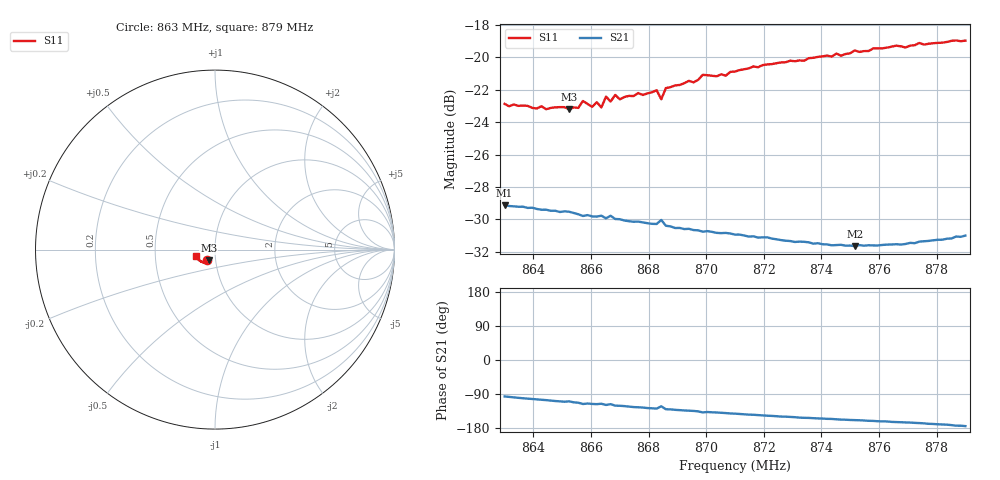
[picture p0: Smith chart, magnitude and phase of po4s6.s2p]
# HZ S RI R 50
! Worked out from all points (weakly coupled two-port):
!   101 points, 863 MHz to 879 MHz, reference 50 ohm
!   highest |S21| = -29.12 dB at 863 MHz (marker M1); lowest = -31.6 dB at 875.16 MHz (marker M2)
!   lowest |S11| = -23.2 dB at 865.24 MHz (marker M3), VSWR 1.15, Z = 46.4 - j5.59 ohm
!   |S11| at or under -10 dB: start of sweep to end of sweep
!   S12 and S22 are empty: the file has one direction only
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8.63e8  -0.0425 -0.0578  -0.00376 -0.0348  0 0  0 0
8.6524e8  -0.0343 -0.06  -0.0109 -0.0316  0 0  0 0
8.6556e8  -0.0365 -0.0595  -0.0127 -0.0303  0 0  0 0
8.6572e8  -0.0395 -0.0617  -0.0143 -0.0291  0 0  0 0
8.6604e8  -0.0363 -0.0602  -0.0141 -0.0291  0 0  0 0
8.662e8  -0.0373 -0.0624  -0.0144 -0.0289  0 0  0 0
8.6636e8  -0.0336 -0.0615  -0.014 -0.0293  0 0  0 0
8.6652e8  -0.0387 -0.0649  -0.0153 -0.028  0 0  0 0
8.6668e8  -0.0328 -0.0652  -0.0145 -0.029  0 0  0 0
8.6684e8  -0.0407 -0.0648  -0.016 -0.0274  0 0  0 0
8.67e8  -0.0373 -0.0641  -0.0162 -0.0272  0 0  0 0
8.6828e8  -0.0394 -0.0686  -0.019 -0.0241  0 0  0 0
8.6844e8  -0.0276 -0.0689  -0.0168 -0.0267  0 0  0 0
8.686e8  -0.0407 -0.0692  -0.0194 -0.0232  0 0  0 0
8.6956e8  -0.0454 -0.0703  -0.0205 -0.021  0 0  0 0
8.6988e8  -0.0495 -0.0731  -0.0217 -0.0193  0 0  0 0
8.7068e8  -0.0501 -0.072  -0.022 -0.0185  0 0  0 0
8.71e8  -0.0539 -0.0725  -0.0222 -0.0177  0 0  0 0
8.7372e8  -0.0715 -0.0694  -0.0238 -0.0119  0 0  0 0
8.7516e8  -0.0835 -0.0635  -0.0244 -0.00953  0 0  0 0
8.7644e8  -0.0916 -0.0567  -0.0254 -0.00759  0 0  0 0
8.79e8  -0.1066 -0.0357  -0.0281 -0.00273  0 0  0 0
